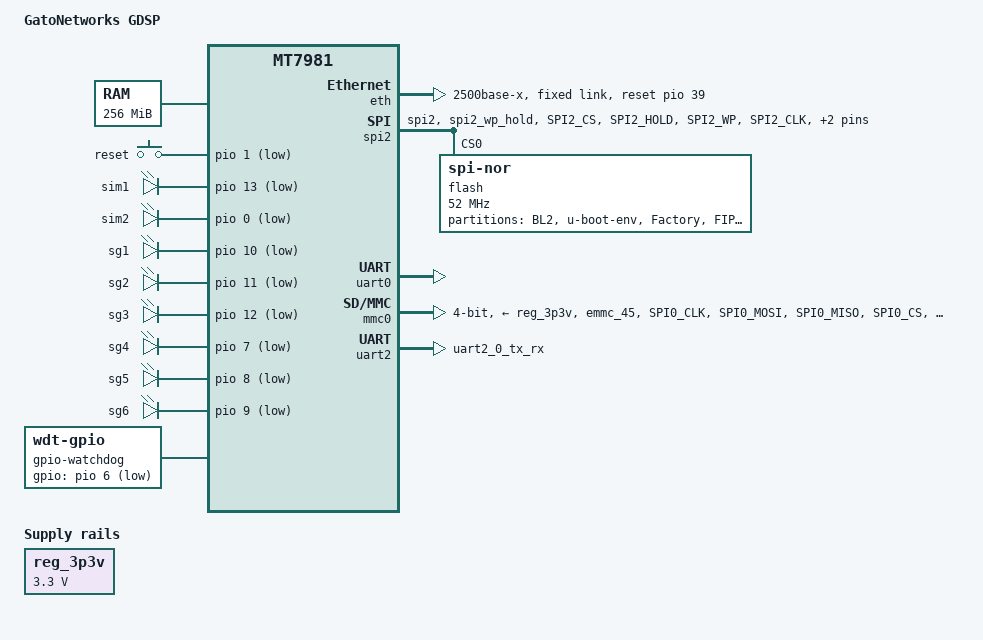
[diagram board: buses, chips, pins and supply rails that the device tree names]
// SPDX-License-Identifier: GPL-2.0-or-later OR MIT

/dts-v1/;
#include "mt7981.dtsi"
#include <dt-bindings/gpio/gpio.h>
#include <dt-bindings/input/linux-event-codes.h>

/ {
	#address-cells = <1>;
	#size-cells = <1>;
	model = "GatoNetworks GDSP";
	compatible = "gatonetworks,gdsp", "mediatek,mt7981";
  chosen {
		stdout-path = &uart0;
		tick-timer = &timer0;
  };

	memory {
		device_type = "memory";
		reg = <0x40000000 0x10000000>;
	};

	keys {
		compatible = "gpio-keys";

		reset {
			label = "reset";
			linux,code = <KEY_RESTART>;
			gpios = <&pio 1 GPIO_ACTIVE_LOW>;
		};
	};

	leds {
		compatible = "gpio-leds";

		sim1 {
			label = "sim1";
			gpios = <&pio 13 GPIO_ACTIVE_LOW>;
		};

		sim2 {
			label = "sim2";
			gpios = <&pio 0 GPIO_ACTIVE_LOW>;
		};

		sg1 {
			label = "sg1";
			gpios = <&pio 10 GPIO_ACTIVE_LOW>;
		};

		sg2 {
			label = "sg2";
			gpios = <&pio 11 GPIO_ACTIVE_LOW>;
		};

		sg3 {
			label = "sg3";
			gpios = <&pio 12 GPIO_ACTIVE_LOW>;
		};

		sg4 {
			label = "sg4";
			gpios = <&pio 7 GPIO_ACTIVE_LOW>;
		};

		sg5 {
			label = "sg5";
			gpios = <&pio 8 GPIO_ACTIVE_LOW>;
		};

		sg6 {
			label = "sg6";
			gpios = <&pio 9 GPIO_ACTIVE_LOW>;
		};
	};
	gpio-watchdog {
		compatible = "linux,wdt-gpio";
		gpios = <&pio 6 GPIO_ACTIVE_LOW>;
		hw_algo = "toggle";
		hw_margin_ms = <25000>;
		always-running;
		u-boot,autostart;
	};

	reg_3p3v: regulator-3p3v {
		  compatible = "regulator-fixed";
		  regulator-name = "fixed-3.3V";
		  regulator-min-microvolt = <3300000>;
		  regulator-max-microvolt = <3300000>;
		  regulator-boot-on;
		  regulator-always-on;
	};
};

&eth {
	status = "okay";
	mediatek,gmac-id = <0>;
	phy-mode = "2500base-x";
	mediatek,switch = "mt7531";
	reset-gpios = <&pio 39 GPIO_ACTIVE_HIGH>;

	fixed-link {
		speed = <2500>;
		full-duplex;
	};
};

&spi2 {
	pinctrl-names = "default";
	pinctrl-0 = <&spi2_flash_pins>;
	status = "okay";
	must_tx;
	enhance_timing;
	dma_ext;
	ipm_design;
	support_quad;
	tick_dly = <2>;
	sample_sel = <0>;

	flash@0 {
		compatible = "jedec,spi-nor";
		reg = <0>;
		spi-max-frequency = <52000000>;

		partitions {
			compatible = "fixed-partitions";
			#address-cells = <1>;
			#size-cells = <1>;

			partition@00000 {
				label = "BL2";
				reg = <0x00000 0x0040000>;
				read-only;
			};

			partition@40000 {
				label = "u-boot-env";
				reg = <0x40000 0x0010000>;
			};

			partition@50000 {
				label = "Factory";
				reg = <0x50000 0x00B0000>;
				read-only;
			};

			partition@100000 {
				label = "FIP";
				reg = <0x100000 0x0080000>;
			};

			partition@180000 {
				label = "firmware";
				reg = <0x180000 0x1E80000>;
			};
		};
	};
};

&pio {
	mmc0_pins_default: mmc0default {
		mux {
			function = "flash";
			groups =  "emmc_45";
		};
		conf-cmd-dat {
			pins = "SPI0_CLK", "SPI0_MOSI", "SPI0_MISO",
				"SPI0_CS",  "SPI0_HOLD", "SPI0_WP",
				"SPI1_CLK", "SPI1_MOSI", "SPI1_MISO";
			input-enable;
			drive-strength = <MTK_DRIVE_4mA>;
			bias-pull-up = <MTK_PUPD_SET_R1R0_01>;
		};
		conf-clk {
			pins = "SPI1_CS";
			drive-strength = <MTK_DRIVE_8mA>;
			bias-pull-down = <MTK_PUPD_SET_R1R0_10>;
		};
		conf-rst {
			pins = "PWM0";
			drive-strength = <MTK_DRIVE_4mA>;
			bias-pull-up = <MTK_PUPD_SET_R1R0_01>;
		};
	};

	uart2_pins: uart2-pins {
		mux {
			function = "uart";
			groups = "uart2_0_tx_rx";
		};
	};

	spi2_flash_pins: spi2-pins {
		mux {
			function = "spi";
			groups = "spi2", "spi2_wp_hold";
		};

		conf-pu {
			pins = "SPI2_CS", "SPI2_HOLD", "SPI2_WP";
			drive-strength = <MTK_DRIVE_8mA>;
			bias-pull-up = <MTK_PUPD_SET_R1R0_11>;
		};

		conf-pd {
			pins = "SPI2_CLK", "SPI2_MOSI", "SPI2_MISO";
			drive-strength = <MTK_DRIVE_8mA>;
			bias-pull-down = <MTK_PUPD_SET_R1R0_11>;
		};
	};
};

&uart0 {
	status = "okay";
};

&mmc0 {
	assigned-clock-parents = <&topckgen CLK_TOP_CB_NET2_D4>,
				 <&topckgen CLK_TOP_CB_NET2_D2>;
	pinctrl-names = "default";
	pinctrl-0 = <&mmc0_pins_default>;
	bus-width = <4>;
	max-frequency = <50000000>;
	cap-sd-highspeed;
	r_smpl = <0>;
	vmmc-supply = <&reg_3p3v>;
	vqmmc-supply = <&reg_3p3v>;
	status = "okay";
};

&uart2 {
	pinctrl-names = "default";
	pinctrl-0 = <&uart2_pins>;
	status = "okay";
};
